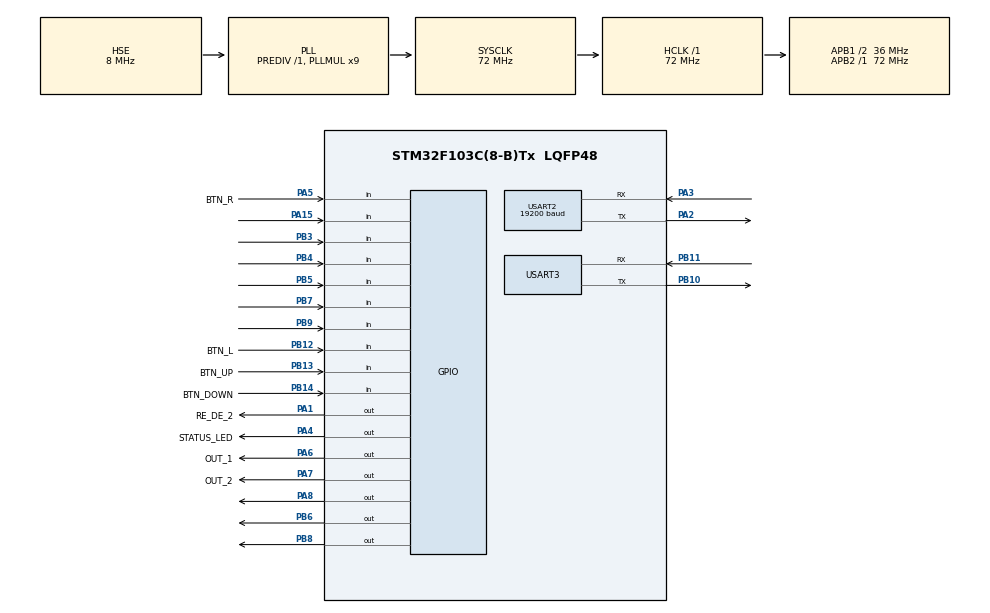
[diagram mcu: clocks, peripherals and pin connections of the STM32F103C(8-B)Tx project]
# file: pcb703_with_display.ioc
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Dma.Request0=USART3_TX
Dma.USART3_TX.0.Direction=DMA_MEMORY_TO_PERIPH
Dma.USART3_TX.0.Instance=DMA1_Channel2
Dma.USART3_TX.0.MemDataAlignment=DMA_MDATAALIGN_BYTE
Dma.USART3_TX.0.MemInc=DMA_MINC_ENABLE
Dma.USART3_TX.0.Mode=DMA_NORMAL
Dma.USART3_TX.0.PeriphDataAlignment=DMA_PDATAALIGN_BYTE
Dma.USART3_TX.0.PeriphInc=DMA_PINC_DISABLE
Dma.USART3_TX.0.Priority=DMA_PRIORITY_LOW
Mcu.Family=STM32F1
Mcu.Name=STM32F103C(8-B)Tx
Mcu.Package=LQFP48
NVIC.DMA1_Channel2_IRQn=true\:0\:0\:false\:false\:true\:false\:true\:true
NVIC.PriorityGroup=NVIC_PRIORITYGROUP_4
NVIC.RTC_IRQn=true\:0\:0\:false\:false\:true\:true\:true\:true
NVIC.TIM3_IRQn=true\:0\:0\:false\:false\:true\:true\:true\:true
NVIC.USART2_IRQn=true\:0\:0\:false\:false\:true\:true\:true\:true
NVIC.USART3_IRQn=true\:0\:0\:false\:false\:true\:true\:true\:true
PA1.GPIO_Label=RE_DE_2
PA1.Signal=GPIO_Output
PA13.Mode=Serial_Wire
PA13.Signal=SYS_JTMS-SWDIO
PA14.Mode=Serial_Wire
PA14.Signal=SYS_JTCK-SWCLK
PA15.GPIO_PuPd=GPIO_PULLUP
PA15.Signal=GPIO_Input
PA2.Mode=Asynchronous
PA2.Signal=USART2_TX
PA3.Mode=Asynchronous
PA3.Signal=USART2_RX
PA4.GPIO_Label=STATUS_LED
PA4.Signal=GPIO_Output
PA5.GPIO_Label=BTN_R
PA5.Signal=GPIO_Input
PA6.GPIO_Label=OUT_1
PA6.GPIO_PuPd=GPIO_PULLDOWN
PA6.Signal=GPIO_Output
PA7.GPIO_Label=OUT_2
PA7.GPIO_PuPd=GPIO_PULLDOWN
PA7.Signal=GPIO_Output
PA8.Signal=GPIO_Output
PB10.Mode=Asynchronous
PB10.Signal=USART3_TX
PB11.Mode=Asynchronous
PB11.Signal=USART3_RX
PB12.GPIO_Label=BTN_L
PB12.Signal=GPIO_Input
PB13.GPIO_Label=BTN_UP
PB13.Signal=GPIO_Input
PB14.GPIO_Label=BTN_DOWN
PB14.Signal=GPIO_Input
PB3.GPIO_PuPd=GPIO_PULLUP
PB3.Signal=GPIO_Input
PB4.GPIO_PuPd=GPIO_PULLUP
PB4.Signal=GPIO_Input
PB5.GPIO_PuPd=GPIO_PULLUP
PB5.Signal=GPIO_Input
PB6.Signal=GPIO_Output
PB7.GPIO_PuPd=GPIO_PULLUP
PB7.Signal=GPIO_Input
PB8.Signal=GPIO_Output
PB9.GPIO_PuPd=GPIO_PULLUP
PB9.Signal=GPIO_Input
PC14-OSC32_IN.Mode=LSE-External-Oscillator
PC14-OSC32_IN.Signal=RCC_OSC32_IN
PC15-OSC32_OUT.Mode=LSE-External-Oscillator
PC15-OSC32_OUT.Signal=RCC_OSC32_OUT
PD0-OSC_IN.Mode=HSE-External-Oscillator
PD0-OSC_IN.Signal=RCC_OSC_IN
PD1-OSC_OUT.Mode=HSE-External-Oscillator
PD1-OSC_OUT.Signal=RCC_OSC_OUT
ProjectManager.HeapSize=0x200
ProjectManager.StackSize=0x400
ProjectManager.TargetToolchain=STM32CubeIDE
RCC.AHBFreq_Value=72000000
RCC.APB1CLKDivider=RCC_HCLK_DIV2
RCC.APB1Freq_Value=36000000
RCC.APB1TimFreq_Value=72000000
RCC.APB2Freq_Value=72000000
RCC.APB2TimFreq_Value=72000000
RCC.HCLKFreq_Value=72000000
RCC.PLLMUL=RCC_PLL_MUL9
RCC.PLLSourceVirtual=RCC_PLLSOURCE_HSE
RCC.RTCClockSelection=RCC_RTCCLKSOURCE_LSE
RCC.SYSCLKFreq_VALUE=72000000
RCC.SYSCLKSource=RCC_SYSCLKSOURCE_PLLCLK
RCC.USBFreq_Value=72000000
TIM3.Period=1000-1
TIM3.Prescaler=72-1
USART2.BaudRate=19200
USART2.VirtualMode=VM_ASYNC
USART2.WordLength=WORDLENGTH_9B
USART3.VirtualMode=VM_ASYNC
VP_RTC_VS_RTC_Activate.Mode=RTC_Enabled
VP_RTC_VS_RTC_Calendar.Mode=RTC_Calendar
VP_TIM3_VS_ClockSourceINT.Mode=Internal
board=custom

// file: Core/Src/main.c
/* USER CODE BEGIN Header */
/**
  ******************************************************************************
  * @file           : main.c
  * @brief          : Main program body
  ******************************************************************************
  * @attention
  *
  * Copyright (c) 2025 STMicroelectronics.
  * All rights reserved.
  *
  * This software is licensed under terms that can be found in the LICENSE file
  * in the root directory of this software component.
  * If no LICENSE file comes with this software, it is provided AS-IS.
  *
  ******************************************************************************
  */
/* USER CODE END Header */
#include "main.h"

/* USER CODE BEGIN Includes */
#include "rs485.h"
/* USER CODE END Includes */

RTC_HandleTypeDef hrtc;

TIM_HandleTypeDef htim3;

UART_HandleTypeDef huart2;
UART_HandleTypeDef huart3;
DMA_HandleTypeDef hdma_usart3_tx;

/* USER CODE BEGIN PV */

extern MenuTypeDef Menu;
extern DispUartTypeDef DispUart;
save_flash_t settings = {0};

uint16_t UART_TX_counter = 0;
button_t btn = {0};
volatile RB_button_t rb_btn = {0};

dummy_t dummy = {0};

volatile uint32_t one_sec_counter = 0U;

status_t status_RB = STOPED;

/* USER CODE END PV */

void SystemClock_Config(void);
static void MX_GPIO_Init(void);
static void MX_DMA_Init(void);
static void MX_USART3_UART_Init(void);
static void MX_TIM3_Init(void);
static void MX_RTC_Init(void);
static void MX_USART2_UART_Init(void);
/* USER CODE BEGIN PFP */

void ButtonsReset(void);
void ButtonsResetLong(void);
void ButtonsHandler(void);
void ButtonsCnt(void);
void IOHandler(void);
void IOCnt(void);

/* USER CODE END PFP */

int main(void)
{

  /* MCU Configuration--------------------------------------------------------*/

  /* Reset of all peripherals, Initializes the Flash interface and the Systick. */
  HAL_Init();

  /* Configure the system clock */
  SystemClock_Config();

  /* Initialize all configured peripherals */
  MX_GPIO_Init();
  MX_DMA_Init();
  MX_USART3_UART_Init();
  MX_TIM3_Init();
  MX_RTC_Init();
  MX_USART2_UART_Init();
  /* USER CODE BEGIN 2 */

  HAL_Delay(100);
  HAL_TIM_Base_Start_IT(&htim3);
  HAL_UART_Transmit_DMA(&huart3, DispUart.txBuff, DISP_TX_BUFF);
  DispInit();
  SettInit();
  RS485_Init(&huart2);

  /* USER CODE END 2 */

  /* Infinite loop */
  while (1)
  {

    /* USER CODE BEGIN 3 */
	  FlashConfigWrite();
	  ButtonsHandler();
	  IOHandler();
	  DispPushBtn();
	  RTC_Process();
	  RoadBlockerTestProcesing();
	  DispTask();
  }
  /* USER CODE END 3 */
}

void SystemClock_Config(void)
{
  RCC_OscInitTypeDef RCC_OscInitStruct = {0};
  RCC_ClkInitTypeDef RCC_ClkInitStruct = {0};
  RCC_PeriphCLKInitTypeDef PeriphClkInit = {0};

  /** Initializes the RCC Oscillators according to the specified parameters
  * in the RCC_OscInitTypeDef structure.
  */
  RCC_OscInitStruct.OscillatorType = RCC_OSCILLATORTYPE_HSE|RCC_OSCILLATORTYPE_LSE;
  RCC_OscInitStruct.HSEState = RCC_HSE_ON;
  RCC_OscInitStruct.HSEPredivValue = RCC_HSE_PREDIV_DIV1;
  RCC_OscInitStruct.LSEState = RCC_LSE_ON;
  RCC_OscInitStruct.HSIState = RCC_HSI_ON;
  RCC_OscInitStruct.PLL.PLLState = RCC_PLL_ON;
  RCC_OscInitStruct.PLL.PLLSource = RCC_PLLSOURCE_HSE;
  RCC_OscInitStruct.PLL.PLLMUL = RCC_PLL_MUL9;
  if (HAL_RCC_OscConfig(&RCC_OscInitStruct) != HAL_OK)
  {
    Error_Handler();
  }

  /** Initializes the CPU, AHB and APB buses clocks
  */
  RCC_ClkInitStruct.ClockType = RCC_CLOCKTYPE_HCLK|RCC_CLOCKTYPE_SYSCLK
                              |RCC_CLOCKTYPE_PCLK1|RCC_CLOCKTYPE_PCLK2;
  RCC_ClkInitStruct.SYSCLKSource = RCC_SYSCLKSOURCE_PLLCLK;
  RCC_ClkInitStruct.AHBCLKDivider = RCC_SYSCLK_DIV1;
  RCC_ClkInitStruct.APB1CLKDivider = RCC_HCLK_DIV2;
  RCC_ClkInitStruct.APB2CLKDivider = RCC_HCLK_DIV1;

  if (HAL_RCC_ClockConfig(&RCC_ClkInitStruct, FLASH_LATENCY_2) != HAL_OK)
  {
    Error_Handler();
  }
  PeriphClkInit.PeriphClockSelection = RCC_PERIPHCLK_RTC;
  PeriphClkInit.RTCClockSelection = RCC_RTCCLKSOURCE_LSE;
  if (HAL_RCCEx_PeriphCLKConfig(&PeriphClkInit) != HAL_OK)
  {
    Error_Handler();
  }
}

static void MX_RTC_Init(void)
{

  hrtc.Instance = RTC;
  hrtc.Init.AsynchPrediv = RTC_AUTO_1_SECOND;
  hrtc.Init.OutPut = RTC_OUTPUTSOURCE_ALARM;
  if (RTC_Module_Init(&hrtc) != HAL_OK)
  {
    Error_Handler();
  }

}

static void MX_TIM3_Init(void)
{

  TIM_ClockConfigTypeDef sClockSourceConfig = {0};
  TIM_MasterConfigTypeDef sMasterConfig = {0};

  htim3.Instance = TIM3;
  htim3.Init.Prescaler = 72-1;
  htim3.Init.CounterMode = TIM_COUNTERMODE_UP;
  htim3.Init.Period = 1000-1;
  htim3.Init.ClockDivision = TIM_CLOCKDIVISION_DIV1;
  htim3.Init.AutoReloadPreload = TIM_AUTORELOAD_PRELOAD_DISABLE;
  if (HAL_TIM_Base_Init(&htim3) != HAL_OK)
  {
    Error_Handler();
  }
  sClockSourceConfig.ClockSource = TIM_CLOCKSOURCE_INTERNAL;
  if (HAL_TIM_ConfigClockSource(&htim3, &sClockSourceConfig) != HAL_OK)
  {
    Error_Handler();
  }
  sMasterConfig.MasterOutputTrigger = TIM_TRGO_RESET;
  sMasterConfig.MasterSlaveMode = TIM_MASTERSLAVEMODE_DISABLE;
  if (HAL_TIMEx_MasterConfigSynchronization(&htim3, &sMasterConfig) != HAL_OK)
  {
    Error_Handler();
  }

}

static void MX_USART2_UART_Init(void)
{

  huart2.Instance = USART2;
  huart2.Init.BaudRate = 19200;
  huart2.Init.WordLength = UART_WORDLENGTH_9B;
  huart2.Init.StopBits = UART_STOPBITS_1;
  huart2.Init.Parity = UART_PARITY_NONE;
  huart2.Init.Mode = UART_MODE_TX_RX;
  huart2.Init.HwFlowCtl = UART_HWCONTROL_NONE;
  huart2.Init.OverSampling = UART_OVERSAMPLING_16;
  if (HAL_UART_Init(&huart2) != HAL_OK)
  {
    Error_Handler();
  }

}

static void MX_USART3_UART_Init(void)
{

  huart3.Instance = USART3;
  huart3.Init.BaudRate = 115200;
  huart3.Init.WordLength = UART_WORDLENGTH_8B;
  huart3.Init.StopBits = UART_STOPBITS_1;
  huart3.Init.Parity = UART_PARITY_NONE;
  huart3.Init.Mode = UART_MODE_TX_RX;
  huart3.Init.HwFlowCtl = UART_HWCONTROL_NONE;
  huart3.Init.OverSampling = UART_OVERSAMPLING_16;
  if (HAL_UART_Init(&huart3) != HAL_OK)
  {
    Error_Handler();
  }

}

static void MX_DMA_Init(void)
{

  /* DMA controller clock enable */
  __HAL_RCC_DMA1_CLK_ENABLE();

  /* DMA interrupt init */
  /* DMA1_Channel2_IRQn interrupt configuration */
  HAL_NVIC_SetPriority(DMA1_Channel2_IRQn, 0, 0);
  HAL_NVIC_EnableIRQ(DMA1_Channel2_IRQn);

}

static void MX_GPIO_Init(void)
{
  GPIO_InitTypeDef GPIO_InitStruct = {0};

  /* GPIO Ports Clock Enable */
  __HAL_RCC_GPIOC_CLK_ENABLE();
  __HAL_RCC_GPIOD_CLK_ENABLE();
  __HAL_RCC_GPIOA_CLK_ENABLE();
  __HAL_RCC_GPIOB_CLK_ENABLE();

  /*Configure GPIO pin Output Level */
  HAL_GPIO_WritePin(GPIOA, RE_DE_2_Pin|STATUS_LED_Pin|OUT_1_Pin|OUT_2_Pin
                          |GPIO_PIN_8, GPIO_PIN_RESET);

  /*Configure GPIO pin Output Level */
  HAL_GPIO_WritePin(GPIOB, GPIO_PIN_6|GPIO_PIN_8, GPIO_PIN_RESET);

  /*Configure GPIO pins : RE_DE_2_Pin STATUS_LED_Pin PA8 */
  GPIO_InitStruct.Pin = RE_DE_2_Pin|STATUS_LED_Pin|GPIO_PIN_8;
  GPIO_InitStruct.Mode = GPIO_MODE_OUTPUT_PP;
  GPIO_InitStruct.Pull = GPIO_NOPULL;
  GPIO_InitStruct.Speed = GPIO_SPEED_FREQ_LOW;
  HAL_GPIO_Init(GPIOA, &GPIO_InitStruct);

  /*Configure GPIO pin : BTN_R_Pin */
  GPIO_InitStruct.Pin = BTN_R_Pin;
  GPIO_InitStruct.Mode = GPIO_MODE_INPUT;
  GPIO_InitStruct.Pull = GPIO_NOPULL;
  HAL_GPIO_Init(BTN_R_GPIO_Port, &GPIO_InitStruct);

  /*Configure GPIO pins : OUT_1_Pin OUT_2_Pin */
  GPIO_InitStruct.Pin = OUT_1_Pin|OUT_2_Pin;
  GPIO_InitStruct.Mode = GPIO_MODE_OUTPUT_PP;
  GPIO_InitStruct.Pull = GPIO_PULLDOWN;
  GPIO_InitStruct.Speed = GPIO_SPEED_FREQ_LOW;
  HAL_GPIO_Init(GPIOA, &GPIO_InitStruct);

  /*Configure GPIO pins : BTN_L_Pin BTN_UP_Pin BTN_DOWN_Pin */
  GPIO_InitStruct.Pin = BTN_L_Pin|BTN_UP_Pin|BTN_DOWN_Pin;
  GPIO_InitStruct.Mode = GPIO_MODE_INPUT;
  GPIO_InitStruct.Pull = GPIO_NOPULL;
  HAL_GPIO_Init(GPIOB, &GPIO_InitStruct);

  /*Configure GPIO pin : PA15 */
  GPIO_InitStruct.Pin = GPIO_PIN_15;
  GPIO_InitStruct.Mode = GPIO_MODE_INPUT;
  GPIO_InitStruct.Pull = GPIO_PULLUP;
  HAL_GPIO_Init(GPIOA, &GPIO_InitStruct);

  /*Configure GPIO pins : PB3 PB4 PB5 PB7
                           PB9 */
  GPIO_InitStruct.Pin = GPIO_PIN_3|GPIO_PIN_4|GPIO_PIN_5|GPIO_PIN_7
                          |GPIO_PIN_9;
  GPIO_InitStruct.Mode = GPIO_MODE_INPUT;
  GPIO_InitStruct.Pull = GPIO_PULLUP;
  HAL_GPIO_Init(GPIOB, &GPIO_InitStruct);

  /*Configure GPIO pins : PB6 PB8 */
  GPIO_InitStruct.Pin = GPIO_PIN_6|GPIO_PIN_8;
  GPIO_InitStruct.Mode = GPIO_MODE_OUTPUT_PP;
  GPIO_InitStruct.Pull = GPIO_NOPULL;
  GPIO_InitStruct.Speed = GPIO_SPEED_FREQ_LOW;
  HAL_GPIO_Init(GPIOB, &GPIO_InitStruct);

}

/* USER CODE BEGIN 4 */

void RoadBlockerTestProcesing(void)
{
	RS485_RemoteControlProcesing();
}

void ButtonsReset(void)
{
	if (btn.DOWN_state  == BTN_PRESS) btn.DOWN_state  = BTN_IDLE;
	if (btn.UP_state    == BTN_PRESS) btn.UP_state    = BTN_IDLE;
	if (btn.RIGHT_state == BTN_PRESS) btn.RIGHT_state = BTN_IDLE;
	if (btn.LEFT_state  == BTN_PRESS) btn.LEFT_state  = BTN_IDLE;
}
void ButtonsResetLong(void)
{
	if (btn.DOWN_state  == BTN_LONG_PRESS) btn.DOWN_state  = BTN_IDLE;
	if (btn.UP_state    == BTN_LONG_PRESS) btn.UP_state    = BTN_IDLE;
	if (btn.RIGHT_state == BTN_LONG_PRESS) btn.RIGHT_state = BTN_IDLE;
	if (btn.LEFT_state  == BTN_LONG_PRESS) btn.LEFT_state  = BTN_IDLE;
}

void IOHandler (void)
{
	if(RB_BTN_TEST_ON_READ() == 0) {
		rb_btn.TEST_ON_flag = true;
	} else {
		rb_btn.TEST_ON_flag = false;
	}

	if(RB_BTN_UP_READ() == 0 && rb_btn.UP_flag == 0) {
		rb_btn.UP_flag = 1;
		rb_btn.UP_debounce_cnt = DEBOUNCE_TIME_MS;
	}
	if(rb_btn.UP_debounce_cnt == 1) {
		if(RB_BTN_UP_READ() == 0) {
			rs485_command_btn = RS485_COMMAND_UP;
		}
		rb_btn.UP_debounce_cnt = 0;
	}
	if(RB_BTN_UP_READ() != 0 && rb_btn.UP_debounce_cnt == 0) {
		rb_btn.UP_flag = 0;
	}

	if(RB_BTN_STOP_READ() == 0 && rb_btn.STOP_flag == 0) {
		rb_btn.STOP_flag = 1;
		rb_btn.STOP_debounce_cnt = DEBOUNCE_TIME_MS;
	}
	if(rb_btn.STOP_debounce_cnt == 1) {
		if(RB_BTN_STOP_READ() == 0) {
			rs485_command_btn = RS485_COMMAND_STOP;
		}
		rb_btn.STOP_debounce_cnt = 0;
	}
	if(RB_BTN_STOP_READ() != 0 && rb_btn.STOP_debounce_cnt == 0) {
		rb_btn.STOP_flag = 0;
	}

	if(RB_BTN_DOWN_READ() == 0 && rb_btn.DOWN_flag == 0) {
		rb_btn.DOWN_flag = 1;
		rb_btn.DOWN_debounce_cnt = DEBOUNCE_TIME_MS;
	}
	if(rb_btn.DOWN_debounce_cnt == 1) {
		if(RB_BTN_DOWN_READ() == 0) {
			rs485_command_btn = RS485_COMMAND_DOWN;
		}
		rb_btn.DOWN_debounce_cnt = 0;
	}
	if(RB_BTN_DOWN_READ() != 0 && rb_btn.DOWN_debounce_cnt == 0) {
		rb_btn.DOWN_flag = 0;
	}
}

void IOCnt(void)
{
	//buttons cnt begin
	if(rb_btn.UP_debounce_cnt > 1) {
		rb_btn.UP_debounce_cnt --;
	}
	if(rb_btn.STOP_debounce_cnt > 1) {
		rb_btn.STOP_debounce_cnt --;
	}
	if(rb_btn.DOWN_debounce_cnt > 1) {
		rb_btn.DOWN_debounce_cnt --;
	}
}

void ButtonsHandler(void)
{
	//button 3
	if(BTN_UP_READ() == 0 && btn.UP_flag == 0) {
		btn.UP_flag = 1;
		btn.U_debounce_cnt = DEBOUNCE_TIME_MS;
	}
	if(btn.U_debounce_cnt == 1) {
		if(BTN_UP_READ() == 0) {
			btn.U_long_press_cnt = BTN_LONG_PRESS_TIME_MS;
		}
		btn.U_debounce_cnt = 0;
	}
	if(BTN_UP_READ() == 1 && btn.U_debounce_cnt == 0) {
		if(btn.U_long_press_cnt > 1) {
			btn.UP_state = BTN_PRESS;
			btn.U_long_press_cnt = 0;
		}
		btn.UP_flag = 0;
	}

	//button 2
	if(BTN_DOWN_READ() == 0 && btn.DOWN_flag == 0) {
		btn.DOWN_flag = 1;
		btn.D_debounce_cnt = DEBOUNCE_TIME_MS;
	}
	if(btn.D_debounce_cnt == 1) {
		if(BTN_DOWN_READ() == 0) {
			btn.D_long_press_cnt = BTN_LONG_PRESS_TIME_MS;
		}
		btn.D_debounce_cnt = 0;
	}
	if(BTN_DOWN_READ() == 1 && btn.D_debounce_cnt == 0) {
		if(btn.D_long_press_cnt > 1) {
			btn.DOWN_state = BTN_PRESS;
			btn.D_long_press_cnt = 0;
		}
		btn.DOWN_flag = 0;
	}

	//button 1
	if(BTN_R_READ() == 0 && btn.RIGHT_flag == 0) {
		btn.RIGHT_flag = 1;
		btn.R_debounce_cnt = DEBOUNCE_TIME_MS;
	}
	if(btn.R_debounce_cnt == 1) {
		if(BTN_R_READ() == 0) {
			btn.R_long_press_cnt = BTN_LONG_PRESS_TIME_MS;
		}
		btn.R_debounce_cnt = 0;
	}
	if(BTN_R_READ() == 1 && btn.R_debounce_cnt == 0) {
		if(btn.R_long_press_cnt > 1) {
			btn.RIGHT_state = BTN_PRESS;
			btn.R_long_press_cnt = 0;
		}
		btn.RIGHT_flag = 0;
	}

	//button 4
	if(BTN_L_READ() == 0 && btn.LEFT_flag == 0) {
		btn.LEFT_flag = 1;
		btn.L_debounce_cnt = DEBOUNCE_TIME_MS;
	}
	if(btn.L_debounce_cnt == 1) {
		if(BTN_L_READ() == 0) {
			btn.L_long_press_cnt = BTN_LONG_PRESS_TIME_MS;
		}
		btn.L_debounce_cnt = 0;
	}
	if(BTN_L_READ() == 1 && btn.L_debounce_cnt == 0) {
		if(btn.L_long_press_cnt > 1) {
			btn.LEFT_state = BTN_PRESS;
			btn.L_long_press_cnt = 0;
		}
		btn.LEFT_flag = 0;
	}

}

void ButtonsCnt(void)
{
	//buttons cnt begin
	if(btn.R_debounce_cnt > 1) {
		btn.R_debounce_cnt --;
	}
	if(btn.L_debounce_cnt > 1) {
		btn.L_debounce_cnt --;
	}
	if(btn.U_debounce_cnt > 1) {
		btn.U_debounce_cnt --;
	}
	if(btn.D_debounce_cnt > 1) {
		btn.D_debounce_cnt --;
	}

	if (btn.U_long_press_cnt) {
		if (btn.U_long_press_cnt == 1) {
			btn.UP_state = BTN_LONG_PRESS; }
		btn.U_long_press_cnt --;
	}
	if (btn.D_long_press_cnt) {
		if (btn.D_long_press_cnt == 1) {
			btn.DOWN_state = BTN_LONG_PRESS; }
		btn.D_long_press_cnt --;
	}
	if (btn.R_long_press_cnt) {
		if (btn.R_long_press_cnt == 1) {
			btn.RIGHT_state = BTN_LONG_PRESS; }
		btn.R_long_press_cnt --;
	}
	if (btn.L_long_press_cnt) {
		if (btn.L_long_press_cnt == 1) {
			btn.LEFT_state = BTN_LONG_PRESS; }
		btn.L_long_press_cnt --;
	}
	// buttons cnt end
}

void HAL_UART_TxCpltCallback(UART_HandleTypeDef *huart)
{
	RS485_UART_TxCpltCallback(huart);

	if(huart->Instance == USART3)
	{
		UART_TX_counter = 5;
		DispUart.packTxCnt++;		// go to next packet
		DispUart.pauseTmr = 1;		// start timeout
	}
}

void HAL_UARTEx_RxEventCallback(UART_HandleTypeDef *huart, uint16_t Size)
{
	RS485_UART_RxEventCallback(huart, Size);
}

void HAL_UART_ErrorCallback(UART_HandleTypeDef *huart)
{
	RS485_UART_ErrorCallback(huart);
}

//   1 ms timer
//---------------------------------------------------------
void HAL_TIM_PeriodElapsedCallback(TIM_HandleTypeDef *htim)
{
	static uint16_t one_second_divider = 0U;

	if (htim->Instance == TIM3) {

		if (UART_TX_counter){
			UART_TX_counter--;
		} else {
			DispUart.pauseTmr = 0;
			HAL_UART_Transmit_DMA(&huart3, DispUart.txBuff, DISP_TX_BUFF);
		}
		DispTmr1ms();

		RS485_Timer1msCallback();

		one_sec_counter++;
		one_second_divider++;
		if (one_second_divider >= 1000U) {
			one_second_divider = 0U;
			DispTmr1sec();
			HAL_GPIO_TogglePin(STATUS_LED_GPIO_Port, STATUS_LED_Pin);
		}
		ButtonsCnt();
		IOCnt();
	}
}

/* USER CODE END 4 */

void Error_Handler(void)
{
  __disable_irq();
  while (1)
  {
  }
}
